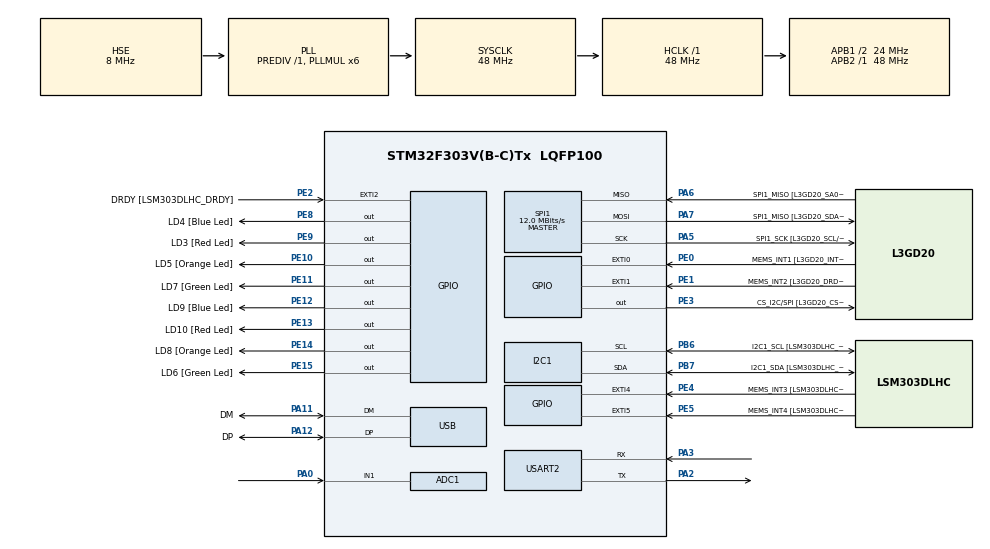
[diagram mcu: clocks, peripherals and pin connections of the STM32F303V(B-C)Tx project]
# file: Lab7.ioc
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ADC1.Channel-0\#ChannelRegularConversion=ADC_CHANNEL_1
ADC1.ContinuousConvMode=ENABLE
ADC1.NbrOfConversionFlag=1
ADC1.Offset-0\#ChannelRegularConversion=0
ADC1.OffsetNumber-0\#ChannelRegularConversion=ADC_OFFSET_NONE
ADC1.Rank-0\#ChannelRegularConversion=1
ADC1.SamplingTime-0\#ChannelRegularConversion=ADC_SAMPLETIME_1CYCLE_5
ADC1.SamplingTimeOPAMP-0\#ChannelRegularConversion=ADC_SAMPLETIME_19CYCLES_5
ADC1.master=1
I2C1.Timing=0x2000090E
I2C1.Timing-I2C=0x2000090E
Mcu.Family=STM32F3
Mcu.Name=STM32F303V(B-C)Tx
Mcu.Package=LQFP100
NVIC.ADC1_2_IRQn=true\:0\:0\:false\:false\:true\:true\:true\:true
NVIC.PriorityGroup=NVIC_PRIORITYGROUP_0
NVIC.TIM2_IRQn=true\:0\:0\:false\:false\:true\:true\:true\:true
PA0.Mode=IN1-Single-Ended
PA0.Signal=ADC1_IN1
PA11.GPIO_Label=DM
PA11.Mode=Device
PA11.Signal=USB_DM
PA12.GPIO_Label=DP
PA12.Mode=Device
PA12.Signal=USB_DP
PA13.GPIO_Label=SWDIO
PA13.Mode=Serial_Wire
PA13.Signal=SYS_JTMS-SWDIO
PA14.GPIO_Label=SWCLK
PA14.Mode=Serial_Wire
PA14.Signal=SYS_JTCK-SWCLK
PA2.Mode=Asynchronous
PA2.Signal=USART2_TX
PA3.Mode=Asynchronous
PA3.Signal=USART2_RX
PA5.GPIO_Label=SPI1_SCK [L3GD20_SCL/SPC]
PA5.Mode=Full_Duplex_Master
PA5.Signal=SPI1_SCK
PA6.GPIO_Label=SPI1_MISO [L3GD20_SA0/SDO]
PA6.Mode=Full_Duplex_Master
PA6.Signal=SPI1_MISO
PA7.GPIO_Label=SPI1_MISO [L3GD20_SDA/SDI/SDO]
PA7.Mode=Full_Duplex_Master
PA7.Signal=SPI1_MOSI
PB3.GPIO_Label=SWO
PB3.Signal=SYS_JTDO-TRACESWO
PB6.GPIO_Label=I2C1_SCL [LSM303DLHC_SCL]
PB6.GPIO_Pu=GPIO_PULLUP
PB6.Mode=I2C
PB6.Signal=I2C1_SCL
PB7.GPIO_Label=I2C1_SDA [LSM303DLHC_SDA]
PB7.GPIO_Pu=GPIO_PULLUP
PB7.Mode=I2C
PB7.Signal=I2C1_SDA
PC14-OSC32_IN.GPIO_Label=OSC32_IN
PC14-OSC32_IN.Signal=RCC_OSC32_IN
PC15-OSC32_OUT.GPIO_Label=OSC32_OUT
PC15-OSC32_OUT.Signal=RCC_OSC32_OUT
PE0.GPIO_Label=MEMS_INT1 [L3GD20_INT1]
PE0.GPIO_ModeDefaultEXTI=GPIO_MODE_EVT_RISING
PE0.Signal=GPXTI0
PE1.GPIO_Label=MEMS_INT2 [L3GD20_DRDY/INT2]
PE1.GPIO_ModeDefaultEXTI=GPIO_MODE_EVT_RISING
PE1.Signal=GPXTI1
PE10.GPIO_Label=LD5 [Orange Led]
PE10.Signal=GPIO_Output
PE11.GPIO_Label=LD7 [Green Led]
PE11.Signal=GPIO_Output
PE12.GPIO_Label=LD9 [Blue Led]
PE12.Signal=GPIO_Output
PE13.GPIO_Label=LD10 [Red Led]
PE13.Signal=GPIO_Output
PE14.GPIO_Label=LD8 [Orange Led]
PE14.Signal=GPIO_Output
PE15.GPIO_Label=LD6 [Green Led]
PE15.Signal=GPIO_Output
PE2.GPIO_Label=DRDY [LSM303DLHC_DRDY]
PE2.GPIO_ModeDefaultEXTI=GPIO_MODE_EVT_RISING
PE2.Signal=GPXTI2
PE3.GPIO_Label=CS_I2C/SPI [L3GD20_CS_I2C/SPI]
PE3.Signal=GPIO_Output
PE4.GPIO_Label=MEMS_INT3 [LSM303DLHC_INT1]
PE4.GPIO_ModeDefaultEXTI=GPIO_MODE_EVT_RISING
PE4.Signal=GPXTI4
PE5.GPIO_Label=MEMS_INT4 [LSM303DLHC_INT2]
PE5.GPIO_ModeDefaultEXTI=GPIO_MODE_EVT_RISING
PE5.Signal=GPXTI5
PE8.GPIO_Label=LD4 [Blue Led]
PE8.Signal=GPIO_Output
PE9.GPIO_Label=LD3 [Red Led]
PE9.Signal=GPIO_Output
PF0-OSC_IN.GPIO_Label=OSC_IN
PF0-OSC_IN.Mode=HSE-External-Clock-Source
PF0-OSC_IN.Signal=RCC_OSC_IN
PF1-OSC_OUT.GPIO_Label=OSC_OUT
PF1-OSC_OUT.Signal=RCC_OSC_OUT
ProjectManager.HeapSize=0x200
ProjectManager.StackSize=0x400
ProjectManager.TargetToolchain=CMake
RCC.AHBFreq_Value=48000000
RCC.APB1CLKDivider=RCC_HCLK_DIV2
RCC.APB1Freq_Value=24000000
RCC.APB1TimFreq_Value=48000000
RCC.APB2Freq_Value=48000000
RCC.APB2TimFreq_Value=48000000
RCC.CortexFreq_Value=48000000
RCC.HCLKFreq_Value=48000000
RCC.HSE_VALUE=8000000
RCC.HSI_VALUE=8000000
RCC.LSE_VALUE=32768
RCC.PLLMUL=RCC_PLL_MUL6
RCC.SYSCLKFreq_VALUE=48000000
RCC.SYSCLKSourceVirtual=RCC_SYSCLKSOURCE_PLLCLK
RCC.USBFreq_Value=48000000
SPI1.BaudRatePrescaler=SPI_BAUDRATEPRESCALER_4
SPI1.BaudRatePrescaler-Full_Duplex_Master=SPI_BAUDRATEPRESCALER_2
SPI1.CalculateBaudRate=12.0 MBits/s
SPI1.CalculateBaudRate-Full_Duplex_Master=24.0 MBits/s
SPI1.Direction=SPI_DIRECTION_2LINES
SPI1.Mode=SPI_MODE_MASTER
SPI1.Mode-Full_Duplex_Master=SPI_MODE_MASTER
SPI1.VirtualType=VM_MASTER
STMicroelectronics.X-CUBE-ALGOBUILD.1.4.0.LibraryCcDSPOoLibraryJjDSPOoLibrary=true
TIM2.Period=24
TIM2.Prescaler=47999
USART2.VirtualMode-Asynchronous=VM_ASYNC
VP_STMicroelectronics.X-CUBE-ALGOBUILD_VS_DSPOoLibraryJjLibrary_1.4.0_1.4.0.Mode=DSPOoLibraryJjLibrary
VP_TIM2_VS_ClockSourceINT.Mode=Internal
board=STM32F3DISCOVERY

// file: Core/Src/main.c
/* USER CODE BEGIN Header */
/**
  ******************************************************************************
  * @file           : main.c
  * @brief          : Main program body
  ******************************************************************************
  * @attention
  *
  * Copyright (c) 2026 STMicroelectronics.
  * All rights reserved.
  *
  * This software is licensed under terms that can be found in the LICENSE file
  * in the root directory of this software component.
  * If no LICENSE file comes with this software, it is provided AS-IS.
  *
  ******************************************************************************
  */
/* USER CODE END Header */
#include "main.h"

/* USER CODE BEGIN Includes */
#include "string.h"
#include <stdio.h>
#include <stdint.h>
#include "arm_math.h"
#include <inttypes.h>
/* USER CODE END Includes */

/* USER CODE BEGIN PD */
#define FILTER_LEN 10
float32_t buffer[FILTER_LEN];
float32_t filtered;
uint8_t buf_index = 0;
char txBuf[100];

void moving_average(float32_t sample)
{
buffer[buf_index] = sample;
buf_index++;

if(buf_index >= FILTER_LEN)
  buf_index = 0;

arm_mean_f32(buffer, FILTER_LEN, &filtered);
}
/* USER CODE END PD */

ADC_HandleTypeDef hadc1;

I2C_HandleTypeDef hi2c1;

SPI_HandleTypeDef hspi1;

TIM_HandleTypeDef htim2;

UART_HandleTypeDef huart2;

PCD_HandleTypeDef hpcd_USB_FS;

void SystemClock_Config(void);
static void MX_GPIO_Init(void);
static void MX_ADC1_Init(void);
static void MX_I2C1_Init(void);
static void MX_SPI1_Init(void);
static void MX_USART2_UART_Init(void);
static void MX_USB_PCD_Init(void);
static void MX_TIM2_Init(void);

/* USER CODE BEGIN 0 */
void HAL_ADC_ConvCpltCallback(ADC_HandleTypeDef* hadc)
{
if(hadc->Instance == ADC1)
{
uint32_t value = HAL_ADC_GetValue(hadc); // raw ADC value

// Apply your moving average filter
moving_average((float32_t)value);

// Send both raw and filtered values over UART
sprintf(txBuf, "%lu,%lu\r\n", (long unsigned) value, (long unsigned) filtered);
HAL_UART_Transmit(&huart2, (uint8_t*)txBuf, strlen(txBuf), HAL_MAX_DELAY);
}
}
/* USER CODE END 0 */

int main(void)
{

  /* MCU Configuration--------------------------------------------------------*/

  /* Reset of all peripherals, Initializes the Flash interface and the Systick. */
  HAL_Init();

  /* Configure the system clock */
  SystemClock_Config();

  /* Initialize all configured peripherals */
  MX_GPIO_Init();
  MX_ADC1_Init();
  MX_I2C1_Init();
  MX_SPI1_Init();
  MX_USART2_UART_Init();
  MX_USB_PCD_Init();
  MX_TIM2_Init();
  /* USER CODE BEGIN 2 */
  /* USER CODE BEGIN 2 */
  HAL_TIM_Base_Start_IT(&htim2);

  /* USER CODE END 2 */

  /* Infinite loop */
  while (1)
  {

  }
}

void SystemClock_Config(void)
{
  RCC_OscInitTypeDef RCC_OscInitStruct = {0};
  RCC_ClkInitTypeDef RCC_ClkInitStruct = {0};
  RCC_PeriphCLKInitTypeDef PeriphClkInit = {0};

  /** Initializes the RCC Oscillators according to the specified parameters
  * in the RCC_OscInitTypeDef structure.
  */
  RCC_OscInitStruct.OscillatorType = RCC_OSCILLATORTYPE_HSI|RCC_OSCILLATORTYPE_HSE;
  RCC_OscInitStruct.HSEState = RCC_HSE_BYPASS;
  RCC_OscInitStruct.HSEPredivValue = RCC_HSE_PREDIV_DIV1;
  RCC_OscInitStruct.HSIState = RCC_HSI_ON;
  RCC_OscInitStruct.HSICalibrationValue = RCC_HSICALIBRATION_DEFAULT;
  RCC_OscInitStruct.PLL.PLLState = RCC_PLL_ON;
  RCC_OscInitStruct.PLL.PLLSource = RCC_PLLSOURCE_HSE;
  RCC_OscInitStruct.PLL.PLLMUL = RCC_PLL_MUL6;
  if (HAL_RCC_OscConfig(&RCC_OscInitStruct) != HAL_OK)
  {
    Error_Handler();
  }

  /** Initializes the CPU, AHB and APB buses clocks
  */
  RCC_ClkInitStruct.ClockType = RCC_CLOCKTYPE_HCLK|RCC_CLOCKTYPE_SYSCLK
                              |RCC_CLOCKTYPE_PCLK1|RCC_CLOCKTYPE_PCLK2;
  RCC_ClkInitStruct.SYSCLKSource = RCC_SYSCLKSOURCE_PLLCLK;
  RCC_ClkInitStruct.AHBCLKDivider = RCC_SYSCLK_DIV1;
  RCC_ClkInitStruct.APB1CLKDivider = RCC_HCLK_DIV2;
  RCC_ClkInitStruct.APB2CLKDivider = RCC_HCLK_DIV1;

  if (HAL_RCC_ClockConfig(&RCC_ClkInitStruct, FLASH_LATENCY_1) != HAL_OK)
  {
    Error_Handler();
  }
  PeriphClkInit.PeriphClockSelection = RCC_PERIPHCLK_USB|RCC_PERIPHCLK_USART2
                              |RCC_PERIPHCLK_I2C1|RCC_PERIPHCLK_ADC12;
  PeriphClkInit.Usart2ClockSelection = RCC_USART2CLKSOURCE_PCLK1;
  PeriphClkInit.Adc12ClockSelection = RCC_ADC12PLLCLK_DIV1;
  PeriphClkInit.I2c1ClockSelection = RCC_I2C1CLKSOURCE_HSI;
  PeriphClkInit.USBClockSelection = RCC_USBCLKSOURCE_PLL;
  if (HAL_RCCEx_PeriphCLKConfig(&PeriphClkInit) != HAL_OK)
  {
    Error_Handler();
  }
}

static void MX_ADC1_Init(void)
{

  ADC_MultiModeTypeDef multimode = {0};
  ADC_ChannelConfTypeDef sConfig = {0};

  /** Common config
  */
  hadc1.Instance = ADC1;
  hadc1.Init.ClockPrescaler = ADC_CLOCK_ASYNC_DIV1;
  hadc1.Init.Resolution = ADC_RESOLUTION_12B;
  hadc1.Init.ScanConvMode = ADC_SCAN_DISABLE;
  hadc1.Init.ContinuousConvMode = DISABLE;
  hadc1.Init.DiscontinuousConvMode = DISABLE;
  hadc1.Init.ExternalTrigConvEdge = ADC_EXTERNALTRIGCONVEDGE_NONE;
  hadc1.Init.ExternalTrigConv = ADC_SOFTWARE_START;
  hadc1.Init.DataAlign = ADC_DATAALIGN_RIGHT;
  hadc1.Init.NbrOfConversion = 1;
  hadc1.Init.DMAContinuousRequests = DISABLE;
  hadc1.Init.EOCSelection = ADC_EOC_SINGLE_CONV;
  hadc1.Init.LowPowerAutoWait = DISABLE;
  hadc1.Init.Overrun = ADC_OVR_DATA_OVERWRITTEN;
  if (HAL_ADC_Init(&hadc1) != HAL_OK)
  {
    Error_Handler();
  }

  /** Configure the ADC multi-mode
  */
  multimode.Mode = ADC_MODE_INDEPENDENT;
  if (HAL_ADCEx_MultiModeConfigChannel(&hadc1, &multimode) != HAL_OK)
  {
    Error_Handler();
  }

  /** Configure Regular Channel
  */
  sConfig.Channel = ADC_CHANNEL_1;
  sConfig.Rank = ADC_REGULAR_RANK_1;
  sConfig.SingleDiff = ADC_SINGLE_ENDED;
  sConfig.SamplingTime = ADC_SAMPLETIME_1CYCLE_5;
  sConfig.OffsetNumber = ADC_OFFSET_NONE;
  sConfig.Offset = 0;
  if (HAL_ADC_ConfigChannel(&hadc1, &sConfig) != HAL_OK)
  {
    Error_Handler();
  }
  /* USER CODE BEGIN ADC1_Init 2 */
  /* Enable ADC interrupt in NVIC */
    HAL_NVIC_SetPriority(ADC1_2_IRQn, 0, 0);
    HAL_NVIC_EnableIRQ(ADC1_2_IRQn);

  /* USER CODE END ADC1_Init 2 */

}

static void MX_I2C1_Init(void)
{

  hi2c1.Instance = I2C1;
  hi2c1.Init.Timing = 0x2000090E;
  hi2c1.Init.OwnAddress1 = 0;
  hi2c1.Init.AddressingMode = I2C_ADDRESSINGMODE_7BIT;
  hi2c1.Init.DualAddressMode = I2C_DUALADDRESS_DISABLE;
  hi2c1.Init.OwnAddress2 = 0;
  hi2c1.Init.OwnAddress2Masks = I2C_OA2_NOMASK;
  hi2c1.Init.GeneralCallMode = I2C_GENERALCALL_DISABLE;
  hi2c1.Init.NoStretchMode = I2C_NOSTRETCH_DISABLE;
  if (HAL_I2C_Init(&hi2c1) != HAL_OK)
  {
    Error_Handler();
  }

  /** Configure Analogue filter
  */
  if (HAL_I2CEx_ConfigAnalogFilter(&hi2c1, I2C_ANALOGFILTER_ENABLE) != HAL_OK)
  {
    Error_Handler();
  }

  /** Configure Digital filter
  */
  if (HAL_I2CEx_ConfigDigitalFilter(&hi2c1, 0) != HAL_OK)
  {
    Error_Handler();
  }

}

static void MX_SPI1_Init(void)
{

  /* SPI1 parameter configuration*/
  hspi1.Instance = SPI1;
  hspi1.Init.Mode = SPI_MODE_MASTER;
  hspi1.Init.Direction = SPI_DIRECTION_2LINES;
  hspi1.Init.DataSize = SPI_DATASIZE_4BIT;
  hspi1.Init.CLKPolarity = SPI_POLARITY_LOW;
  hspi1.Init.CLKPhase = SPI_PHASE_1EDGE;
  hspi1.Init.NSS = SPI_NSS_SOFT;
  hspi1.Init.BaudRatePrescaler = SPI_BAUDRATEPRESCALER_4;
  hspi1.Init.FirstBit = SPI_FIRSTBIT_MSB;
  hspi1.Init.TIMode = SPI_TIMODE_DISABLE;
  hspi1.Init.CRCCalculation = SPI_CRCCALCULATION_DISABLE;
  hspi1.Init.CRCPolynomial = 7;
  hspi1.Init.CRCLength = SPI_CRC_LENGTH_DATASIZE;
  hspi1.Init.NSSPMode = SPI_NSS_PULSE_ENABLE;
  if (HAL_SPI_Init(&hspi1) != HAL_OK)
  {
    Error_Handler();
  }

}

static void MX_TIM2_Init(void)
{

  TIM_ClockConfigTypeDef sClockSourceConfig = {0};
  TIM_MasterConfigTypeDef sMasterConfig = {0};

  htim2.Instance = TIM2;
  htim2.Init.Prescaler = 47999;
  htim2.Init.CounterMode = TIM_COUNTERMODE_UP;
  htim2.Init.Period = 24;
  htim2.Init.ClockDivision = TIM_CLOCKDIVISION_DIV1;
  htim2.Init.AutoReloadPreload = TIM_AUTORELOAD_PRELOAD_DISABLE;
  if (HAL_TIM_Base_Init(&htim2) != HAL_OK)
  {
    Error_Handler();
  }
  sClockSourceConfig.ClockSource = TIM_CLOCKSOURCE_INTERNAL;
  if (HAL_TIM_ConfigClockSource(&htim2, &sClockSourceConfig) != HAL_OK)
  {
    Error_Handler();
  }
  sMasterConfig.MasterOutputTrigger = TIM_TRGO_RESET;
  sMasterConfig.MasterSlaveMode = TIM_MASTERSLAVEMODE_DISABLE;
  if (HAL_TIMEx_MasterConfigSynchronization(&htim2, &sMasterConfig) != HAL_OK)
  {
    Error_Handler();
  }

}

static void MX_USART2_UART_Init(void)
{

  huart2.Instance = USART2;
  huart2.Init.BaudRate = 115200;
  huart2.Init.WordLength = UART_WORDLENGTH_8B;
  huart2.Init.StopBits = UART_STOPBITS_1;
  huart2.Init.Parity = UART_PARITY_NONE;
  huart2.Init.Mode = UART_MODE_TX_RX;
  huart2.Init.HwFlowCtl = UART_HWCONTROL_NONE;
  huart2.Init.OverSampling = UART_OVERSAMPLING_16;
  huart2.Init.OneBitSampling = UART_ONE_BIT_SAMPLE_DISABLE;
  huart2.AdvancedInit.AdvFeatureInit = UART_ADVFEATURE_NO_INIT;
  if (HAL_UART_Init(&huart2) != HAL_OK)
  {
    Error_Handler();
  }

}

static void MX_USB_PCD_Init(void)
{

  hpcd_USB_FS.Instance = USB;
  hpcd_USB_FS.Init.dev_endpoints = 8;
  hpcd_USB_FS.Init.speed = PCD_SPEED_FULL;
  hpcd_USB_FS.Init.phy_itface = PCD_PHY_EMBEDDED;
  hpcd_USB_FS.Init.low_power_enable = DISABLE;
  hpcd_USB_FS.Init.battery_charging_enable = DISABLE;
  if (HAL_PCD_Init(&hpcd_USB_FS) != HAL_OK)
  {
    Error_Handler();
  }

}

static void MX_GPIO_Init(void)
{
  GPIO_InitTypeDef GPIO_InitStruct = {0};

  /* GPIO Ports Clock Enable */
  __HAL_RCC_GPIOE_CLK_ENABLE();
  __HAL_RCC_GPIOC_CLK_ENABLE();
  __HAL_RCC_GPIOF_CLK_ENABLE();
  __HAL_RCC_GPIOA_CLK_ENABLE();
  __HAL_RCC_GPIOB_CLK_ENABLE();

  /*Configure GPIO pin Output Level */
  HAL_GPIO_WritePin(GPIOE, CS_I2C_SPI_Pin|LD4_Pin|LD3_Pin|LD5_Pin
                          |LD7_Pin|LD9_Pin|LD10_Pin|LD8_Pin
                          |LD6_Pin, GPIO_PIN_RESET);

  /*Configure GPIO pins : DRDY_Pin MEMS_INT3_Pin MEMS_INT4_Pin MEMS_INT1_Pin
                           MEMS_INT2_Pin */
  GPIO_InitStruct.Pin = DRDY_Pin|MEMS_INT3_Pin|MEMS_INT4_Pin|MEMS_INT1_Pin
                          |MEMS_INT2_Pin;
  GPIO_InitStruct.Mode = GPIO_MODE_EVT_RISING;
  GPIO_InitStruct.Pull = GPIO_NOPULL;
  HAL_GPIO_Init(GPIOE, &GPIO_InitStruct);

  /*Configure GPIO pins : CS_I2C_SPI_Pin LD4_Pin LD3_Pin LD5_Pin
                           LD7_Pin LD9_Pin LD10_Pin LD8_Pin
                           LD6_Pin */
  GPIO_InitStruct.Pin = CS_I2C_SPI_Pin|LD4_Pin|LD3_Pin|LD5_Pin
                          |LD7_Pin|LD9_Pin|LD10_Pin|LD8_Pin
                          |LD6_Pin;
  GPIO_InitStruct.Mode = GPIO_MODE_OUTPUT_PP;
  GPIO_InitStruct.Pull = GPIO_NOPULL;
  GPIO_InitStruct.Speed = GPIO_SPEED_FREQ_LOW;
  HAL_GPIO_Init(GPIOE, &GPIO_InitStruct);

}

/* USER CODE BEGIN 4 */
void HAL_TIM_PeriodElapsedCallback(TIM_HandleTypeDef *htim)
{
    if(htim->Instance == TIM2)
    {
        HAL_ADC_Start_IT(&hadc1);
    }
}

/* USER CODE END 4 */

void Error_Handler(void)
{
  __disable_irq();
  while (1)
  {
  }
}
